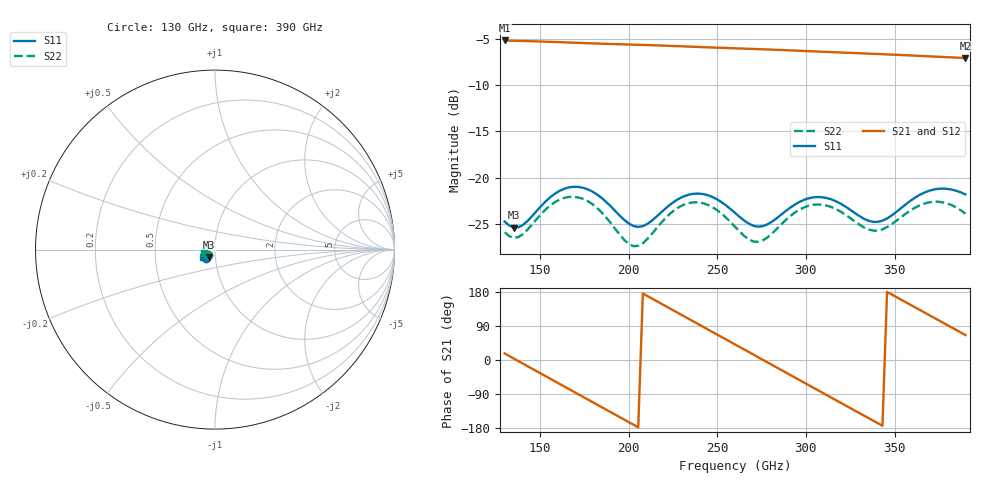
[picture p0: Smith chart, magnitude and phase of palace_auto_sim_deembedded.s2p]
! Created with skrf 1.11.0 (http://scikit-rf.org).
# GHz S DB R 50.0
!freq dBS11 angS11 dBS21 angS21 dBS12 angS12 dBS22 angS22
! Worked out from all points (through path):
!   101 points, 130 GHz to 390 GHz, reference 50 ohm
!   highest |S21| = -5.17 dB at 130 GHz (marker M1); lowest = -7.1 dB at 390 GHz (marker M2)
!   group delay of S21, straight-line fit = 7.17 ps
!   lowest |S11| = -25.4 dB at 135.2 GHz (marker M3), VSWR 1.11, Z = 46.4 - j3.76 ohm
!   |S11| at or under -10 dB: start of sweep to end of sweep
!   |S22| runs from -27.4 to -22.1 dB; largest |S21 - S12| = 8.3e-14
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130  -24.75 -139.3  -5.17 17.2  -5.17 17.2  -25.91 -142.9
135.2  -25.40 -131.2  -5.20 3.7  -5.20 3.7  -26.52 -134.1
145.6  -24.15 -117.5  -5.26 -23.2  -5.26 -23.2  -25.05 -120.9
156  -22.08 -119.5  -5.32 -50.1  -5.32 -50.1  -22.98 -124.6
174.2  -21.10 -138.9  -5.45 -97.2  -5.45 -97.2  -22.30 -146.2
184.6  -22.18 -148.6  -5.52 -124.0  -5.52 -124.0  -23.74 -156.5
197.6  -24.59 -148.5  -5.59 -157.6  -5.59 -157.6  -26.76 -153.6
205.4  -25.33 -139.0  -5.64 -177.7  -5.64 -177.7  -27.38 -139.7
218.4  -23.75 -127.6  -5.72 148.6  -5.72 148.6  -24.87 -128.0
228.8  -22.24 -131.4  -5.79 121.7  -5.79 121.7  -23.15 -134.6
239.2  -21.73 -140.5  -5.87 94.8  -5.87 94.8  -22.68 -145.9
249.6  -22.32 -149.2  -5.95 67.9  -5.95 67.9  -23.48 -156.1
260  -23.82 -152.4  -6.02 41.1  -6.02 41.1  -25.31 -159.4
270.4  -25.21 -145.0  -6.09 14.3  -6.09 14.3  -26.91 -149.4
280.8  -24.78 -133.2  -6.16 -12.6  -6.16 -12.6  -26.06 -135.7
304.2  -22.14 -137.9  -6.35 -73.1  -6.35 -73.1  -22.94 -144.2
322.4  -23.15 -148.5  -6.49 -120.0  -6.49 -120.0  -24.03 -157.0
335.4  -24.67 -143.1  -6.59 -153.5  -6.59 -153.5  -25.61 -152.5
348.4  -24.10 -130.1  -6.70 173.0  -6.70 173.0  -25.04 -141.0
358.8  -22.54 -128.4  -6.79 146.2  -6.79 146.2  -23.58 -140.9
371.8  -21.30 -135.7  -6.91 112.7  -6.91 112.7  -22.62 -150.1
390  -21.81 -147.8  -7.07 66.0  -7.07 66.0  -23.90 -163.7
